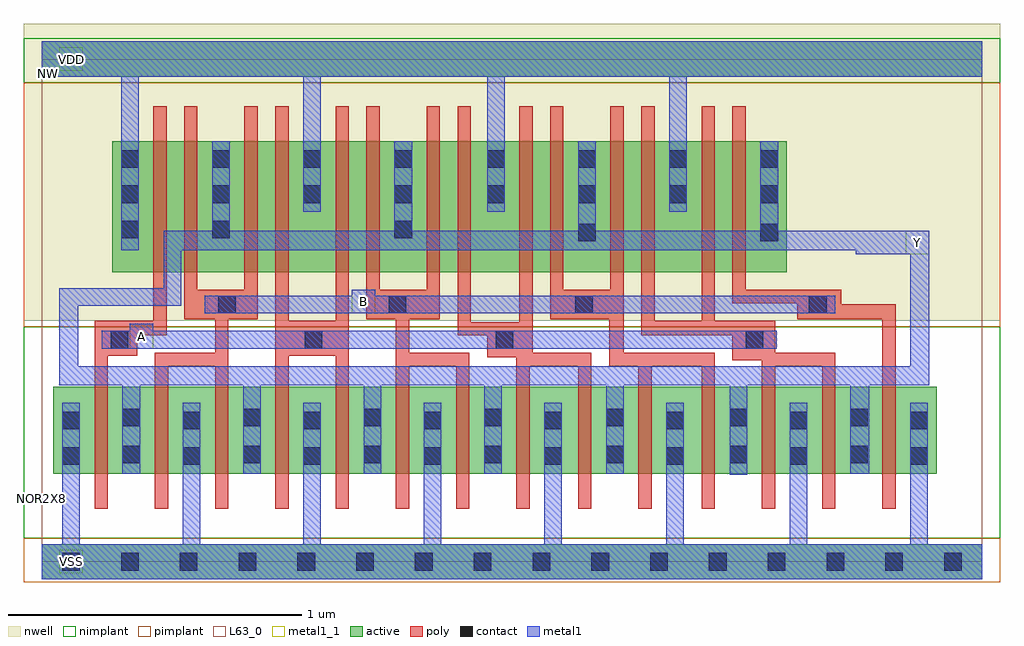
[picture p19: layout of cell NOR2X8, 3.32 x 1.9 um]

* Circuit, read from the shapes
.subckt NOR2X8 A B NW VDD VSS Y
M1 Y A VSS VSS nfet w=0.295u l=0.045u m=7
M2 VSS B Y VSS nfet w=0.295u l=0.045u m=7
M3 n1 A VDD NW pfet w=0.445u l=0.045u
M4 Y B n1 NW pfet w=0.445u l=0.045u
M5 n2 B Y NW pfet w=0.445u l=0.045u
M6 VDD A n2 NW pfet w=0.445u l=0.045u
M7 n3 A VDD NW pfet w=0.445u l=0.045u
M8 Y B n3 NW pfet w=0.445u l=0.045u
M9 n4 B Y NW pfet w=0.445u l=0.045u
M10 VDD A n4 NW pfet w=0.445u l=0.045u
M11 n5 A VDD NW pfet w=0.445u l=0.045u
M12 Y B n5 NW pfet w=0.445u l=0.045u
M13 n6 B Y NW pfet w=0.445u l=0.045u
M14 VDD A n6 NW pfet w=0.445u l=0.045u
M15 n7 A VDD NW pfet w=0.445u l=0.045u
M16 Y B n7 NW pfet w=0.445u l=0.045u
.ends

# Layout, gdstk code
import gdstk
lib = gdstk.Library(unit=1e-6, precision=5e-10)
def R(c, l, rs):  # rectangles x0, y0, x1, y1
    for r in rs: c.add(gdstk.rectangle(r[:2], r[2:], *l))
def A(c, l, x, y, w, h, nx, ny, dx, dy):  # array of equal rectangles
    R(c, l, [(x+i*dx, y+j*dy, x+i*dx+w, y+j*dy+h) for i in range(nx) for j in range(ny)])
def P(c, l, *ps):  # polygons
    for p in ps: c.add(gdstk.Polygon(p, *l))
active = (1, 0)
nwell = (2, 0)
poly = (3, 0)
nimplant = (4, 0)
pimplant = (5, 0)
contact = (6, 0)
metal1 = (7, 0)
metal1_1 = (7, 1)
L63_0 = (63, 0)

nor2x8 = lib.new_cell('NOR2X8')
R(nor2x8, active, [(0,-0.06,3.2,0.06), (0.04,0.3,3.045,0.595), (0.24,0.985,2.535,1.43), (0,1.65,3.2,1.77)])
R(nor2x8, nwell, [(-0.06,0.82,3.26,1.83), (0,1.61,0.05,1.71)])
P(nor2x8, poly, [(1.045,1.55),(1,1.55),(1,0.82),(0.84,0.82),(0.84,1.55),(0.795,1.55),(0.795,0.18),(0.84,0.18),(0.84,0.7),(1,0.7),(1,0.18),(1.045,0.18)],
  [(2.29,0.71),(1.98,0.71),(1.98,1.55),(1.935,1.55),(1.935,0.925),(1.775,0.925),(1.775,1.55),(1.73,1.55),(1.73,0.825),(1.93,0.825),(1.93,0.665),(2.03,0.665),(2.03,0.18),(2.075,0.18),(2.075,0.665),(2.245,0.665),(2.245,0.18),(2.29,0.18)],
  [(1.455,0.71),(1.25,0.71),(1.25,0.825),(1.355,0.825),(1.355,1.55),(1.31,1.55),(1.31,0.925),(1.15,0.925),(1.15,1.55),(1.105,1.55),(1.105,0.825),(1.205,0.825),(1.205,0.18),(1.25,0.18),(1.25,0.665),(1.41,0.665),(1.41,0.18),(1.455,0.18)],
  [(0.425,1.55),(0.38,1.55),(0.38,0.82),(0.18,0.82),(0.18,0.18),(0.225,0.18),(0.225,0.7),(0.325,0.7),(0.325,0.77),(0.425,0.77)],
  [(0.735,1.55),(0.69,1.55),(0.69,0.925),(0.53,0.925),(0.53,1.55),(0.485,1.55),(0.485,0.825),(0.59,0.825),(0.59,0.71),(0.385,0.71),(0.385,0.18),(0.43,0.18),(0.43,0.665),(0.59,0.665),(0.59,0.18),(0.635,0.18),(0.635,0.825),(0.735,0.825)],
  [(2.7,0.71),(2.495,0.71),(2.495,0.82),(2.29,0.82),(2.29,1.55),(2.245,1.55),(2.245,0.82),(2.085,0.82),(2.085,1.55),(2.04,1.55),(2.04,0.77),(2.35,0.77),(2.35,0.685),(2.45,0.685),(2.45,0.18),(2.495,0.18),(2.495,0.665),(2.655,0.665),(2.655,0.18),(2.7,0.18)],
  [(2.905,0.875),(2.72,0.875),(2.72,0.925),(2.395,0.925),(2.395,1.55),(2.35,1.55),(2.35,0.88),(2.57,0.88),(2.57,0.825),(2.86,0.825),(2.86,0.18),(2.905,0.18)],
  [(1.87,0.71),(1.67,0.71),(1.67,1.55),(1.625,1.55),(1.625,0.815),(1.46,0.815),(1.46,1.55),(1.415,1.55),(1.415,0.77),(1.515,0.77),(1.515,0.695),(1.615,0.695),(1.615,0.18),(1.66,0.18),(1.66,0.665),(1.825,0.665),(1.825,0.18),(1.87,0.18)])
R(nor2x8, nimplant, [(-0.06,0.08,3.26,0.8), (-0.06,1.63,3.26,1.78)])
R(nor2x8, pimplant, [(-0.06,-0.07,3.26,0.08), (-0.06,0.8,3.26,1.63)])
A(nor2x8, contact, 0.07, -0.03, 0.06, 0.06, 16, 1, 0.2, 0)
A(nor2x8, contact, 0.07, 0.33, 0.06, 0.06, 5, 2, 0.41, 0.12)
A(nor2x8, contact, 0.275, 0.335, 0.06, 0.06, 4, 2, 0.41, 0.125)
A(nor2x8, contact, 0.27, 1.22, 0.06, 0.06, 4, 2, 0.31, 0.12)
A(nor2x8, contact, 1.515, 1.22, 0.06, 0.06, 4, 2, 0.31, 0.12)
R(nor2x8, contact, [(2.125,0.33,2.185,0.39), (2.545,0.33,2.605,0.39), (2.955,0.33,3.015,0.39), (1.92,0.335,1.98,0.395), (2.34,0.335,2.4,0.395), (2.75,0.335,2.81,0.395), (2.125,0.45,2.185,0.51), (2.545,0.45,2.605,0.51), (2.955,0.45,3.015,0.51), (1.92,0.46,1.98,0.52), (2.34,0.46,2.4,0.52), (2.75,0.46,2.81,0.52), (0.235,0.725,0.295,0.785), (0.895,0.725,0.955,0.785), (1.545,0.725,1.605,0.785), (2.395,0.725,2.455,0.785), (0.6,0.845,0.66,0.905), (1.18,0.845,1.24,0.905), (1.815,0.845,1.875,0.905), (2.61,0.845,2.67,0.905), (1.825,1.09,1.885,1.15), (2.445,1.09,2.505,1.15), (0.27,1.1,0.33,1.16), (0.58,1.1,0.64,1.16), (1.2,1.1,1.26,1.16)])
A(nor2x8, metal1, 0.07, 0.06, 0.06, 0.48, 5, 1, 0.41, 0)
R(nor2x8, metal1, [(2.125,0.06,2.185,0.54), (2.545,0.06,2.605,0.54), (2.955,0.06,3.015,0.54), (0.27,1.06,0.33,1.65), (0.89,1.19,0.95,1.65), (1.515,1.19,1.575,1.65), (2.135,1.19,2.195,1.65)])
P(nor2x8, metal1, [(3.02,1.125),(2.955,1.125),(2.955,0.665),(0.125,0.665),(0.125,0.87),(0.475,0.87),(0.475,1.06),(2.77,1.06),(2.77,1.045),(2.955,1.045),(2.955,1.125),(2.505,1.125),(2.505,1.43),(2.445,1.43),(2.445,1.125),(1.885,1.125),(1.885,1.43),(1.825,1.43),(1.825,1.125),(1.26,1.125),(1.26,1.43),(1.2,1.43),(1.2,1.125),(0.64,1.125),(0.64,1.43),(0.58,1.43),(0.58,1.125),(0.415,1.125),(0.415,0.93),(0.06,0.93),(0.06,0.6),(0.275,0.6),(0.275,0.3),(0.335,0.3),(0.335,0.6),(0.685,0.6),(0.685,0.3),(0.745,0.3),(0.745,0.6),(1.095,0.6),(1.095,0.3),(1.155,0.3),(1.155,0.6),(1.505,0.6),(1.505,0.3),(1.565,0.3),(1.565,0.6),(1.92,0.6),(1.92,0.3),(1.98,0.3),(1.98,0.6),(2.34,0.6),(2.34,0.295),(2.4,0.295),(2.4,0.6),(2.75,0.6),(2.75,0.3),(2.815,0.3),(2.815,0.6),(3.02,0.6)],
  [(2.7,0.905),(1.135,0.905),(1.135,0.925),(1.055,0.925),(1.055,0.905),(0.555,0.905),(0.555,0.845),(2.7,0.845)],
  [(2.5,0.785),(0.38,0.785),(0.38,0.81),(0.3,0.81),(0.3,0.785),(0.205,0.785),(0.205,0.725),(2.5,0.725)])
R(nor2x8, metal1_1, [(0.06,-0.04,0.14,0.04), (0.3,0.725,0.38,0.805), (1.055,0.845,1.135,0.925), (2.94,1.045,3.02,1.125), (0.06,1.67,0.14,1.75)])
R(nor2x8, L63_0, [(0,0,3.2,1.71)])
nor2x8.add(gdstk.FlexPath([(0,0),(3.2,0)], 0.12, ends="flush", simple_path=True, layer=7, datatype=0))  # metal1
nor2x8.add(gdstk.FlexPath([(0,1.71),(3.2,1.71)], 0.12, ends="flush", simple_path=True, layer=7, datatype=0))  # metal1
nor2x8.add(gdstk.Label('VSS', (0.1,0), layer=7, texttype=1))
nor2x8.add(gdstk.Label('Y', (2.98,1.085), layer=7, texttype=1))
nor2x8.add(gdstk.Label('Y', (2.98,1.085), layer=7, texttype=1))
nor2x8.add(gdstk.Label('VSS', (0.1,0), layer=7, texttype=1))
nor2x8.add(gdstk.Label('VDD', (0.1,1.71), layer=7, texttype=1))
nor2x8.add(gdstk.Label('A', (0.34,0.765), layer=7, texttype=1))
nor2x8.add(gdstk.Label('B', (1.095,0.885), layer=7, texttype=1))
nor2x8.add(gdstk.Label('A', (0.34,0.765), layer=7, texttype=1))
nor2x8.add(gdstk.Label('B', (1.095,0.885), layer=7, texttype=1))
nor2x8.add(gdstk.Label('VDD', (0.1,1.71), layer=7, texttype=1))
nor2x8.add(gdstk.Label('NOR2X8', (0,0.215), layer=63, texttype=0))
nor2x8.add(gdstk.Label('NW', (0.025,1.66), layer=2, texttype=0))
nor2x8.add(gdstk.Label('NW', (0.025,1.63), layer=2, texttype=0))

lib.write_gds('NOR2X8.gds')
